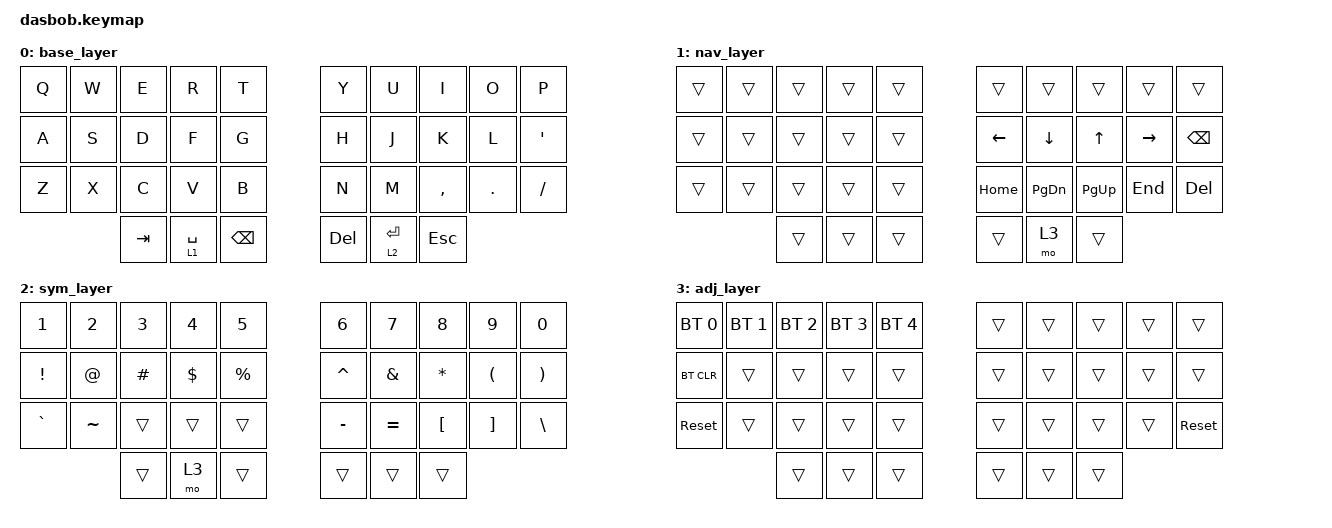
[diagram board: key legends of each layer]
/*
 * Dasbob 36-key keymap
 *
 * Key positions (left → right, top → bottom):
 *
 *  0   1   2   3   4  |  5   6   7   8   9
 * 10  11  12  13  14  | 15  16  17  18  19
 * 20  21  22  23  24  | 25  26  27  28  29
 *         30  31  32  | 33  34  35
 *
 * Thumb layout:
 *   Left:  30=TAB  31=SPACE(hold→NAV)  32=BSPC
 *   Right: 33=DEL  34=ENTER(hold→SYM)  35=ESC
 *
 * Layer map:
 *   0  BASE   QWERTY
 *   1  NAV    arrows, home/end, page up/down
 *   2  SYM    numbers, symbols
 *   3  ADJ    bluetooth, reset (hold both layer thumbs)
 */

#include <behaviors.dtsi>
#include <dt-bindings/zmk/keys.h>
#include <dt-bindings/zmk/bt.h>

/ {
    keymap {
        compatible = "zmk,keymap";

        base_layer {
            /* Q  W  E  R  T  |  Y  U  I  O  P
             * A  S  D  F  G  |  H  J  K  L  '
             * Z  X  C  V  B  |  N  M  ,  .  /
             *    TAB SPC BSP  |  DEL ENT ESC    */
            bindings = <
                &kp Q   &kp W   &kp E   &kp R   &kp T      &kp Y   &kp U      &kp I     &kp O    &kp P
                &kp A   &kp S   &kp D   &kp F   &kp G      &kp H   &kp J      &kp K     &kp L    &kp SQT
                &kp Z   &kp X   &kp C   &kp V   &kp B      &kp N   &kp M      &kp COMMA &kp DOT  &kp FSLH
                        &kp TAB &lt 1 SPACE &kp BSPC        &kp DEL &lt 2 RET  &kp ESC
            >;
        };

        nav_layer {
            /* .  .  .  .  .  |  .   .   .   .   .
             * .  .  .  .  .  |  ←   ↓   ↑   →  BSP
             * .  .  .  .  .  |  HOM PGD PGU END DEL
             *    .  [■] .     |  .   .   .           */
            bindings = <
                &trans  &trans  &trans  &trans  &trans     &trans    &trans    &trans    &trans    &trans
                &trans  &trans  &trans  &trans  &trans     &kp LEFT  &kp DOWN  &kp UP    &kp RIGHT &kp BSPC
                &trans  &trans  &trans  &trans  &trans     &kp HOME  &kp PG_DN &kp PG_UP &kp END   &kp DEL
                        &trans  &trans  &trans             &trans    &mo 3     &trans
            >;
        };

        sym_layer {
            /* 1  2  3  4  5  |  6  7  8  9  0
             * !  @  #  $  %  |  ^  &  *  (  )
             * `  ~  .  .  .  |  -  =  [  ]  \
             *    .  .  [■]   |  .  [■] .         */
            bindings = <
                &kp N1     &kp N2    &kp N3   &kp N4   &kp N5      &kp N6    &kp N7    &kp N8    &kp N9   &kp N0
                &kp EXCL   &kp AT    &kp HASH &kp DLLR &kp PRCNT   &kp CARET &kp AMPS  &kp STAR  &kp LPAR &kp RPAR
                &kp GRAVE  &kp TILDE &trans   &trans   &trans       &kp MINUS &kp EQUAL &kp LBKT  &kp RBKT &kp BSLH
                           &trans    &mo 3    &trans               &trans    &trans    &trans
            >;
        };

        adj_layer {
            /* Reach this layer by holding BOTH layer-thumb keys simultaneously.
             * BT0-4 = connect to saved bluetooth profile
             * BTCLR = clear current profile pairing
             * RESET = soft reset controller                                    */
            bindings = <
                &bt BT_SEL 0  &bt BT_SEL 1  &bt BT_SEL 2  &bt BT_SEL 3  &bt BT_SEL 4    &trans  &trans  &trans  &trans  &trans
                &bt BT_CLR    &trans        &trans         &trans         &trans           &trans  &trans  &trans  &trans  &trans
                &sys_reset    &trans        &trans         &trans         &trans           &trans  &trans  &trans  &trans  &sys_reset
                              &trans        &trans         &trans                          &trans  &trans  &trans
            >;
        };
    };
};
